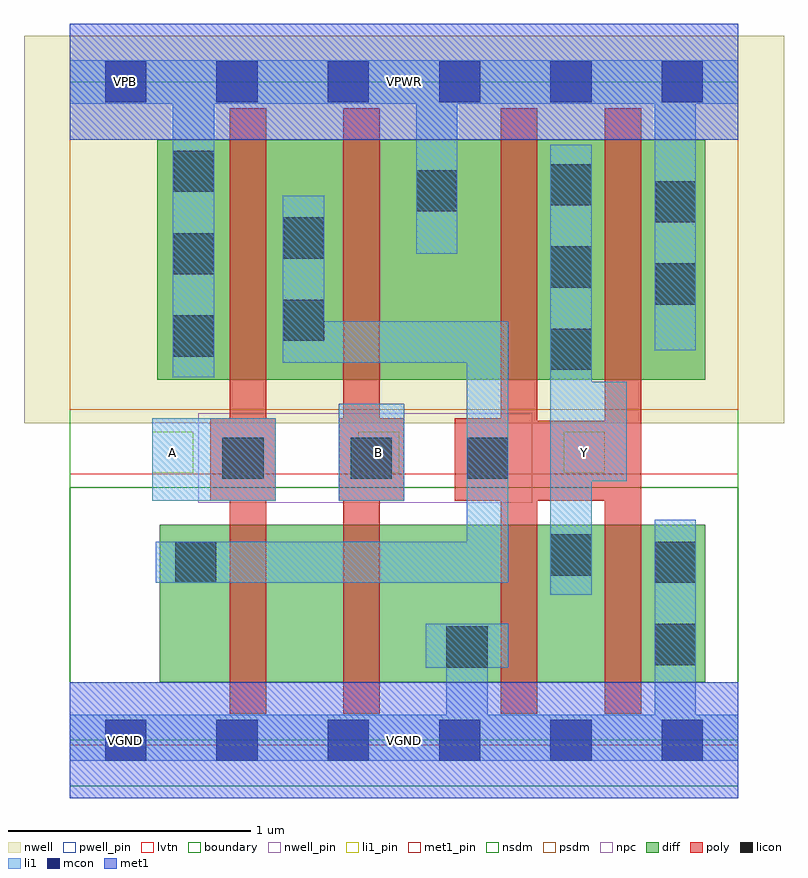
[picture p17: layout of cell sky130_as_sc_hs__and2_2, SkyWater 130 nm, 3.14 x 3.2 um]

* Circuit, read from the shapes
.subckt sky130_as_sc_hs__and2_2 A B VGND VNB VPB VPWR Y
XM1 n1 A n2 VNB sky130_fd_pr__nfet_01v8_lvt w=0.65 l=0.15
XM2 VGND B n1 VNB sky130_fd_pr__nfet_01v8_lvt w=0.65 l=0.15
XM3 Y n2 VGND VNB sky130_fd_pr__nfet_01v8_lvt w=0.65 l=0.15 m=2
XM4 n2 A VPWR VPB sky130_fd_pr__pfet_01v8 w=0.99 l=0.15
XM5 VPWR B n2 VPB sky130_fd_pr__pfet_01v8 w=0.99 l=0.15
XM6 Y n2 VPWR VPB sky130_fd_pr__pfet_01v8 w=0.99 l=0.15 m=2
.ends

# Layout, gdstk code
import gdstk
lib = gdstk.Library(unit=1e-6, precision=1e-09)
def R(c, l, rs):  # rectangles x0, y0, x1, y1
    for r in rs: c.add(gdstk.rectangle(r[:2], r[2:], *l))
def A(c, l, x, y, w, h, nx, ny, dx, dy):  # array of equal rectangles
    R(c, l, [(x+i*dx, y+j*dy, x+i*dx+w, y+j*dy+h) for i in range(nx) for j in range(ny)])
nwell_pin = (64, 16)
nwell = (64, 20)
diff = (65, 20)
poly = (66, 20)
licon = (66, 44)
li1_pin = (67, 16)
li1 = (67, 20)
mcon = (67, 44)
met1_pin = (68, 16)
met1 = (68, 20)
nsdm = (93, 44)
psdm = (94, 20)
npc = (95, 20)
pwell_pin = (122, 16)
lvtn = (125, 44)
boundary = (235, 4)

sky130_as_sc_hs__and2_2 = lib.new_cell('sky130_as_sc_hs__and2_2')
R(sky130_as_sc_hs__and2_2, nwell_pin, [(0.145,2.635,0.315,2.805)])
R(sky130_as_sc_hs__and2_2, nwell, [(-0.19,1.31,2.95,2.91)])
R(sky130_as_sc_hs__and2_2, diff, [(0.37,0.24,2.625,0.89), (0.36,1.49,2.625,2.48)])
R(sky130_as_sc_hs__and2_2, poly, [(0.66,0.11,0.81,0.99), (1.13,0.11,1.28,0.99), (1.78,0.11,1.93,0.99), (2.21,0.11,2.36,0.99), (0.58,0.99,0.85,1.33), (1.11,0.99,1.38,1.33), (1.59,0.99,2.36,1.32), (1.59,1.32,1.93,1.33), (2.21,1.32,2.36,2.61), (0.66,1.33,0.81,2.61), (1.13,1.33,1.28,2.61), (1.78,1.33,1.93,2.61)])
A(sky130_as_sc_hs__and2_2, licon, 1.985, 1.53, 0.17, 0.17, 1, 3, 0, 0.34)
A(sky130_as_sc_hs__and2_2, licon, 0.425, 1.585, 0.17, 0.17, 1, 3, 0, 0.34)
R(sky130_as_sc_hs__and2_2, licon, [(1.555,0.3,1.725,0.47), (2.415,0.31,2.585,0.48), (0.435,0.65,0.605,0.82), (2.415,0.65,2.585,0.82), (1.985,0.68,2.155,0.85), (0.63,1.08,0.8,1.25), (1.16,1.08,1.33,1.25), (1.64,1.08,1.81,1.25), (0.88,1.65,1.05,1.82), (2.415,1.8,2.585,1.97), (0.88,1.99,1.05,2.16), (2.415,2.14,2.585,2.31), (1.43,2.185,1.6,2.355)])
A(sky130_as_sc_hs__and2_2, li1_pin, 0.34, 1.105, 0.17, 0.17, 3, 1, 0.85, 0)
R(sky130_as_sc_hs__and2_2, li1, [(0,-0.085,2.76,0.105), (1.555,0.105,1.725,0.3), (2.415,0.105,2.585,0.91), (1.47,0.3,1.81,0.48), (1.985,0.6,2.155,1.07), (0.355,0.65,1.81,0.82), (1.64,0.82,1.81,1.56), (0.34,0.99,0.85,1.33), (1.11,0.99,1.38,1.39), (1.985,1.07,2.3,1.48), (1.985,1.48,2.155,2.46), (0.425,1.5,0.595,2.63), (0.88,1.56,1.81,1.73), (2.415,1.61,2.585,2.63), (0.88,1.73,1.05,2.25), (1.43,2.01,1.6,2.63), (0,2.63,2.76,2.81)])
A(sky130_as_sc_hs__and2_2, mcon, 0.145, -0.085, 0.17, 0.17, 6, 2, 0.46, 2.72)
R(sky130_as_sc_hs__and2_2, met1_pin, [(0,-0.24,2.76,0.24), (0.145,-0.085,0.315,0.085), (0,2.48,2.76,2.96), (0.145,2.635,0.315,2.805)])
R(sky130_as_sc_hs__and2_2, met1, [(0,-0.24,2.76,0.24), (0,2.48,2.76,2.96)])
R(sky130_as_sc_hs__and2_2, nsdm, [(0,-0.19,2.76,1.045)])
R(sky130_as_sc_hs__and2_2, psdm, [(0,1.365,2.76,2.91)])
R(sky130_as_sc_hs__and2_2, npc, [(0.53,0.98,1.91,1.35)])
R(sky130_as_sc_hs__and2_2, pwell_pin, [(0.145,-0.085,0.315,0.085)])
R(sky130_as_sc_hs__and2_2, lvtn, [(0,-0.02,2.76,1.1)])
R(sky130_as_sc_hs__and2_2, boundary, [(0,0,2.76,2.72)])
sky130_as_sc_hs__and2_2.add(gdstk.Label('VPB', (0.23,2.72), layer=64, texttype=5))
sky130_as_sc_hs__and2_2.add(gdstk.Label('VPB', (0.23,2.72), layer=64, texttype=5))
sky130_as_sc_hs__and2_2.add(gdstk.Label('VGND', (0.23,0), layer=68, texttype=5))
sky130_as_sc_hs__and2_2.add(gdstk.Label('VGND', (1.38,0), layer=68, texttype=5))
sky130_as_sc_hs__and2_2.add(gdstk.Label('VPWR', (0.23,2.72), layer=68, texttype=5))
sky130_as_sc_hs__and2_2.add(gdstk.Label('VPWR', (1.38,2.72), layer=68, texttype=5))
sky130_as_sc_hs__and2_2.add(gdstk.Label('VNB', (0.23,0), layer=64, texttype=59))
sky130_as_sc_hs__and2_2.add(gdstk.Label('VNB', (0.23,0), layer=64, texttype=59))
sky130_as_sc_hs__and2_2.add(gdstk.Label('Y', (2.125,1.19), layer=67, texttype=5))
sky130_as_sc_hs__and2_2.add(gdstk.Label('Y', (2.125,1.19), layer=67, texttype=5))
sky130_as_sc_hs__and2_2.add(gdstk.Label('B', (1.275,1.19), layer=67, texttype=5))
sky130_as_sc_hs__and2_2.add(gdstk.Label('B', (1.275,1.19), layer=67, texttype=5))
sky130_as_sc_hs__and2_2.add(gdstk.Label('A', (0.425,1.19), layer=67, texttype=5))
sky130_as_sc_hs__and2_2.add(gdstk.Label('A', (0.425,1.19), layer=67, texttype=5))

lib.write_gds('sky130_as_sc_hs__and2_2.gds')
